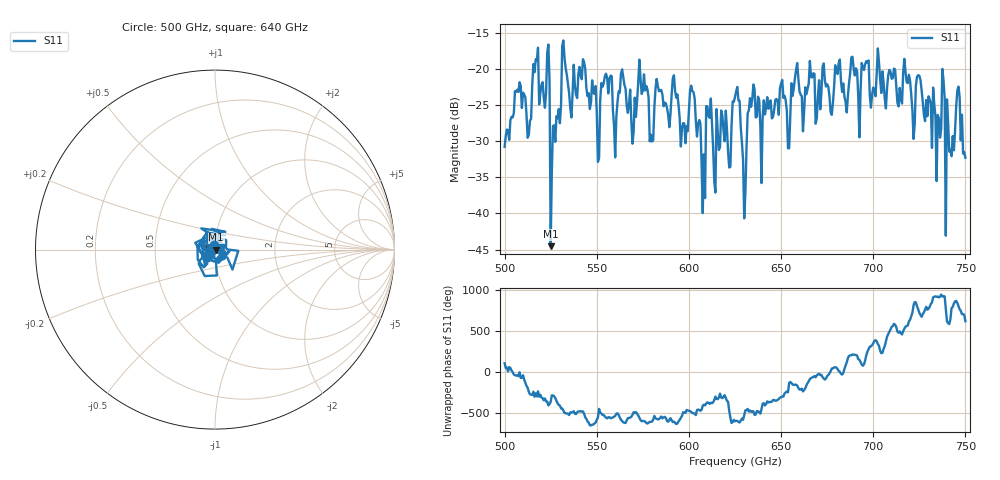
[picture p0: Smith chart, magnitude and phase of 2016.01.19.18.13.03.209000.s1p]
!Created with skrf (http://scikit-rf.org).
# GHz S RI R 50.0
!freq ReS11 ImS11
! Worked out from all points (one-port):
!   401 points, 500 GHz to 750 GHz, reference 50 ohm
!   lowest |S11| = -44.5 dB at 525 GHz (marker M1), VSWR 1.01, Z = 50.6 - j0.0342 ohm
!   |S11| at or under -10 dB: start of sweep to end of sweep
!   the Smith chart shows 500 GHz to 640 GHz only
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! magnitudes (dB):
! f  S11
! 500 GHz  -30.8
! 507.5 GHz  -23.2
! 513.1 GHz  -29.1
! 516.9 GHz  -18.6
! 523.1 GHz  -17.7
! 525 GHz  -44.5
! 526.2 GHz  -27.9
! 531.2 GHz  -16.8
! 550.6 GHz  -32.8
! 562.5 GHz  -23.3
! 574.4 GHz  -23.4
! 580 GHz  -30.0
! 583.1 GHz  -22.3
! 593.8 GHz  -23.5
! 601.9 GHz  -23.1
! 607.5 GHz  -39.9
! 610.6 GHz  -26.5
! 621.9 GHz  -33.6
! 625 GHz  -23.9
! 630 GHz  -40.7
! 634.4 GHz  -24.1
! 656.2 GHz  -23.7
! 687.5 GHz  -20.5
! 718.8 GHz  -21.9
! 737.5 GHz  -20.0
! 740.6 GHz  -27.4
! 745.6 GHz  -22.9
! 750 GHz  -32.3
